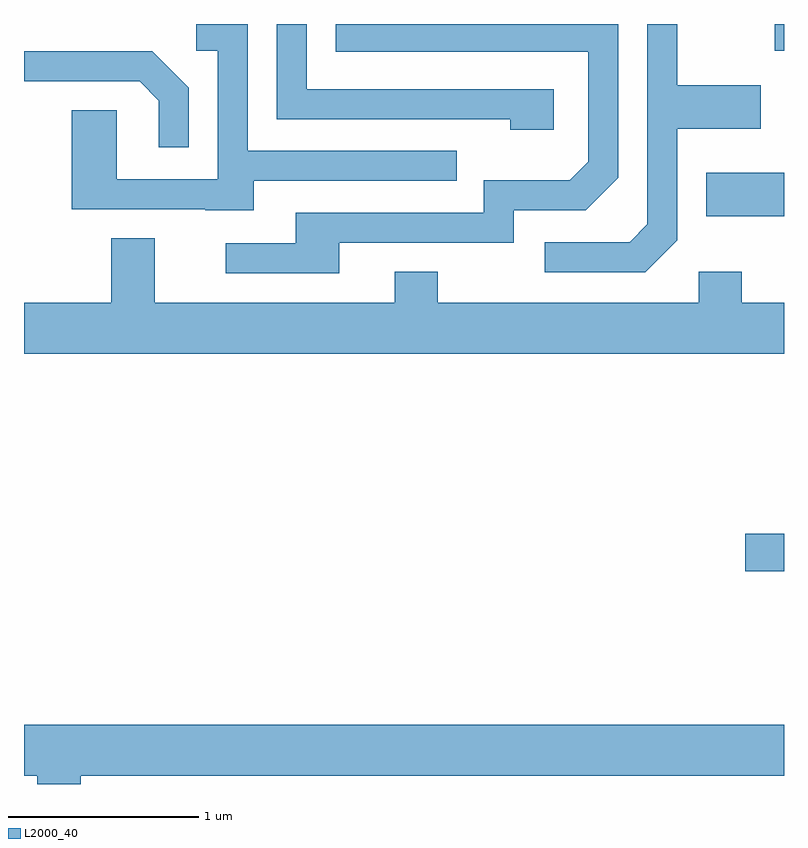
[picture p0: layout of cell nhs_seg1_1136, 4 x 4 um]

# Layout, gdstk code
import gdstk
lib = gdstk.Library(unit=1e-6, precision=1e-09)
def R(c, l, rs):  # rectangles x0, y0, x1, y1
    for r in rs: c.add(gdstk.rectangle(r[:2], r[2:], *l))
def P(c, l, *ps):  # polygons
    for p in ps: c.add(gdstk.Polygon(p, *l))
L2000_40 = (2000, 40)

nhs_seg1_1136 = lib.new_cell('nhs_seg1_1136')
R(nhs_seg1_1136, L2000_40, [(223.406,942.831,223.611,943.029), (223.201,944.701,223.611,944.929), (223.563,945.571,223.611,945.712)])
P(nhs_seg1_1136, L2000_40, [(221.269,944.561),(222.189,944.561),(222.189,944.731),(222.567,944.731),(222.739,944.904),(222.739,945.712),(221.251,945.712),(221.251,945.566),(222.581,945.566),(222.581,944.987),(222.484,944.889),(222.031,944.889),(222.031,944.719),(221.041,944.719),(221.041,944.559),(220.673,944.559),(220.673,944.401),(221.269,944.401)],
  [(223.049,944.574),(223.049,945.161),(223.489,945.161),(223.489,945.389),(223.049,945.389),(223.049,945.712),(222.891,945.712),(222.891,944.657),(222.799,944.564),(222.353,944.564),(222.353,944.406),(222.882,944.406)],
  [(220.819,944.886),(221.888,944.886),(221.888,945.044),(220.789,945.044),(220.789,945.712),(220.518,945.712),(220.518,945.571),(220.631,945.571),(220.631,944.894),(220.099,944.894),(220.099,945.259),(219.861,945.259),(219.861,944.736),(220.565,944.736),(220.565,944.731),(220.819,944.731)],
  [(222.399,945.369),(221.099,945.369),(221.099,945.712),(220.941,945.712),(220.941,945.211),(222.171,945.211),(222.171,945.156),(222.399,945.156)],
  [(220.479,945.377),(220.287,945.569),(219.611,945.569),(219.611,945.411),(220.219,945.411),(220.321,945.309),(220.321,945.063),(220.479,945.063)],
  [(223.611,944.244),(223.389,944.244),(223.389,944.409),(223.161,944.409),(223.161,944.244),(221.789,944.244),(221.789,944.409),(221.561,944.409),(221.561,944.244),(220.299,944.244),(220.299,944.584),(220.071,944.584),(220.071,944.244),(219.611,944.244),(219.611,943.976),(223.611,943.976)],
  [(219.909,941.756),(223.611,941.756),(223.611,942.024),(219.611,942.024),(219.611,941.756),(219.681,941.756),(219.681,941.712),(219.909,941.712)])

lib.write_gds('nhs_seg1_1136.gds')
